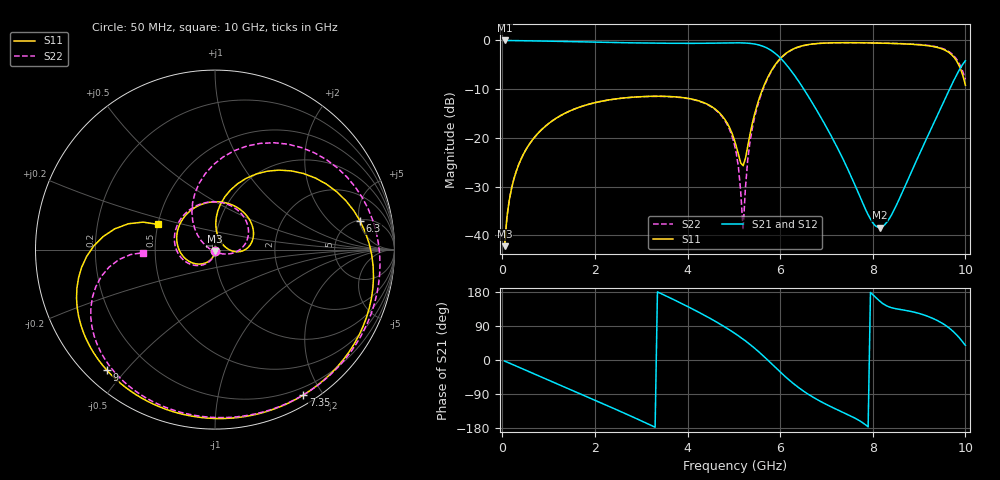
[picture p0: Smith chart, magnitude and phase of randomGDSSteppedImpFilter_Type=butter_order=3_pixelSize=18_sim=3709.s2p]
! freq	dB(S11)	phase(S11)	dB(S12)	phase(S12)
!  dB(S21)	phase(S21)	dB(S22)	phase(S22)
!S-par simulation data
#  GHz  S  DB  R 50
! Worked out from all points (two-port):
!   200 points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, 50 MHz to 10 GHz, reference 50 ohm
!   highest |S21| = 0.00 dB at 50 MHz (marker M1); lowest = -38.4 dB at 8.15 GHz (marker M2)
!   |S21| within 3 dB of the highest: start of sweep to 5.936 GHz
!   lowest |S11| = -42.2 dB at 50 MHz (marker M3), VSWR 1.02, Z = 50 - j0.773 ohm
!   |S11| at or under -10 dB: start of sweep to 5.621 GHz
!   |S22| runs from -42.2 to -0.5 dB; largest |S21 - S12| = 0
!   S11 on the Smith chart (normalised r, x): 50 MHz: 1.00, -0.02; 6.3 GHz: 5.23, +5.15; 7.35 GHz: 0.11, -1.77; 9 GHz: 0.06, -0.45; 10 GHz: 0.50, +0.16
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0.05  -42.23 -91.8  -0.00 -2.7  -0.00 -2.7  -42.23 -91.5
0.2  -30.36 -101.1  -0.02 -10.7  -0.02 -10.7  -30.36 -99.9
0.5  -22.59 -118.6  -0.06 -26.7  -0.06 -26.7  -22.59 -115.7
1.15  -16.06 -155.2  -0.18 -61.1  -0.18 -61.1  -16.05 -148.5
1.75  -13.43 171.0  -0.31 -92.8  -0.31 -92.8  -13.43 -178.5
2.65  -11.78 119.8  -0.47 -141.1  -0.47 -141.1  -11.79 136.1
3.4  -11.46 76.4  -0.57 176.9  -0.57 176.9  -11.48 95.8
4.4  -12.97 18.3  -0.58 115.7  -0.58 115.7  -13.04 34.3
4.8  -16.13 -2.4  -0.52 87.6  -0.52 87.6  -16.35 4.3
5.05  -21.64 -1.8  -0.49 68.0  -0.49 68.0  -23.00 -20.7
5.2  -25.72 44.1  -0.51 55.0  -0.51 55.0  -38.84 -117.6
5.3  -21.72 80.1  -0.56 45.7  -0.56 45.7  -24.50 155.9
5.5  -13.36 86.0  -0.83 25.7  -0.83 25.7  -13.84 127.7
5.9  -4.90 51.1  -2.71 -19.9  -2.71 -19.9  -5.01 79.0
6.3  -1.68 11.0  -7.03 -63.6  -7.03 -63.6  -1.72 33.7
6.7  -0.73 -20.9  -12.90 -97.4  -12.90 -97.4  -0.75 -1.3
7.35  -0.47 -58.8  -24.21 -137.8  -24.21 -137.8  -0.46 -42.3
8.15  -0.55 -94.8  -38.40 155.4  -38.40 155.4  -0.53 -80.3
8.35  -0.60 -103.2  -36.68 140.2  -36.68 140.2  -0.57 -89.0
9  -0.89 -131.9  -23.49 122.9  -23.49 122.9  -0.84 -117.4
9.6  -2.20 -168.4  -11.21 88.9  -11.21 88.9  -2.05 -151.2
10  -9.19 156.1  -4.16 38.7  -4.16 38.7  -7.97 -177.5
